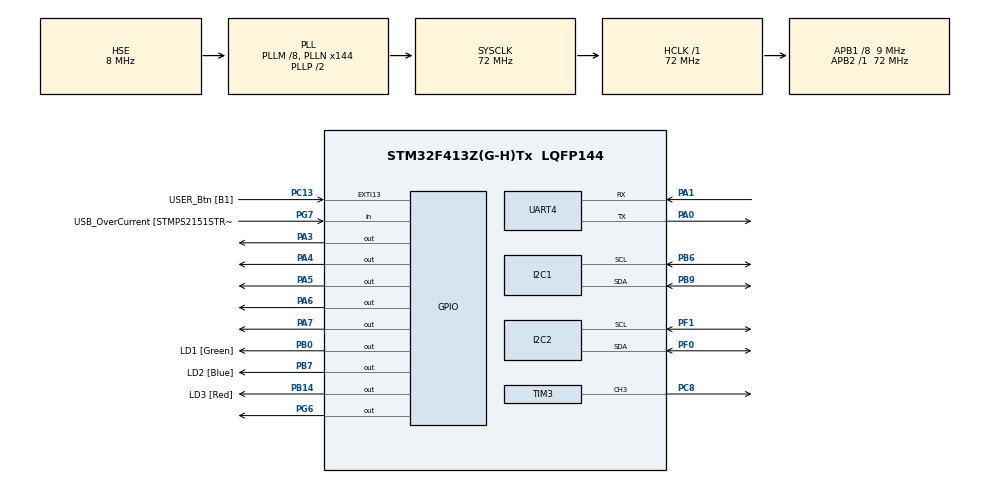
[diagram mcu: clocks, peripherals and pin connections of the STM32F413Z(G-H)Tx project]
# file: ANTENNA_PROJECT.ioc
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Mcu.Family=STM32F4
Mcu.Name=STM32F413Z(G-H)Tx
Mcu.Package=LQFP144
NVIC.PriorityGroup=NVIC_PRIORITYGROUP_4
NVIC.TIM2_IRQn=true\:0\:0\:false\:false\:true\:true\:true
NVIC.TIM3_IRQn=true\:0\:0\:false\:false\:true\:true\:true
NVIC.UART4_IRQn=true\:0\:0\:false\:false\:true\:true\:true
PA0.Mode=Asynchronous
PA0.Signal=UART4_TX
PA1.Mode=Asynchronous
PA1.Signal=UART4_RX
PA10.GPIO_Label=USB_ID
PA10.Signal=USB_OTG_FS_ID
PA11.GPIO_Label=USB_DM
PA11.Signal=USB_OTG_FS_DM
PA12.GPIO_Label=USB_DP
PA12.Signal=USB_OTG_FS_DP
PA13.GPIO_Label=TMS
PA13.Mode=Serial_Wire
PA13.Signal=SYS_JTMS-SWDIO
PA14.GPIO_Label=TCK
PA14.Mode=Serial_Wire
PA14.Signal=SYS_JTCK-SWCLK
PA3.Signal=GPIO_Output
PA4.Signal=GPIO_Output
PA5.Signal=GPIO_Output
PA6.Signal=GPIO_Output
PA7.Signal=GPIO_Output
PA8.GPIO_Label=USB_SOF [TP1]
PA8.Signal=USB_OTG_FS_SOF
PA9.GPIO_Label=USB_VBUS
PA9.Signal=USB_OTG_FS_VBUS
PB0.GPIO_Label=LD1 [Green]
PB0.Signal=GPIO_Output
PB14.GPIO_Label=LD3 [Red]
PB14.Signal=GPIO_Output
PB3.GPIO_Label=SWO
PB3.Signal=SYS_JTDO-SWO
PB6.Mode=I2C
PB6.Signal=I2C1_SCL
PB7.GPIO_Label=LD2 [Blue]
PB7.Signal=GPIO_Output
PB9.Mode=I2C
PB9.Signal=I2C1_SDA
PC13.GPIO_Label=USER_Btn [B1]
PC13.Signal=GPXTI13
PC14-OSC32_IN.Signal=RCC_OSC32_IN
PC15-OSC32_OUT.Signal=RCC_OSC32_OUT
PC8.Signal=S_TIM3_CH3
PD8.GPIO_Label=STLK_RX [STM32F103CBT6_PA3]
PD8.Signal=USART3_TX
PD9.GPIO_Label=STLK_TX [STM32F103CBT6_PA2]
PD9.Signal=USART3_RX
PF0.Mode=I2C
PF0.Signal=I2C2_SDA
PF1.Mode=I2C
PF1.Signal=I2C2_SCL
PG6.Signal=GPIO_Output
PG7.GPIO_Label=USB_OverCurrent [STMPS2151STR_FAULT]
PG7.Signal=GPIO_Input
PH0\ -\ OSC_IN.GPIO_Label=MCO
PH0\ -\ OSC_IN.Mode=HSE-External-Oscillator
PH0\ -\ OSC_IN.Signal=RCC_OSC_IN
PH1\ -\ OSC_OUT.Mode=HSE-External-Oscillator
PH1\ -\ OSC_OUT.Signal=RCC_OSC_OUT
ProjectManager.HeapSize=0x200
ProjectManager.StackSize=0x400
ProjectManager.TargetToolchain=MDK-ARM V5
RCC.48MHZClocksFreq_Value=24000000
RCC.AHBFreq_Value=72000000
RCC.APB1CLKDivider=RCC_HCLK_DIV8
RCC.APB1Freq_Value=9000000
RCC.APB1TimFreq_Value=18000000
RCC.APB2Freq_Value=72000000
RCC.APB2TimFreq_Value=72000000
RCC.CortexFreq_Value=72000000
RCC.HCLKFreq_Value=72000000
RCC.HSE_VALUE=8000000
RCC.HSI_VALUE=16000000
RCC.PLLM=8
RCC.PLLMUL=RCC_PLL_MUL9
RCC.PLLN=144
RCC.PLLSourceVirtual=RCC_PLLSOURCE_HSE
RCC.PRESCALERUSB=RCC_USBCLKSOURCE_PLL_DIV1_5
RCC.SYSCLKFreq_VALUE=72000000
RCC.SYSCLKSource=RCC_SYSCLKSOURCE_PLLCLK
RCC.SYSCLKSourceVirtual=RCC_SYSCLKSOURCE_PLLCLK
RCC.USBFreq_Value=72000000
RCC.VCOOutputFreq_Value=144000000
SH.S_TIM3_CH3.0=TIM3_CH3,PWM Generation3 CH3
TIM2.Period=65535
TIM2.Prescaler=71
TIM3.Channel-PWM\ Generation3\ CH3=TIM_CHANNEL_3
TIM3.Period=2000
TIM3.Prescaler=18
TIM3.Pulse-PWM\ Generation3\ CH3=50
UART4.VirtualMode=Asynchronous
VP_TIM2_VS_ClockSourceINT.Mode=Internal
VP_TIM3_VS_ClockSourceINT.Mode=Internal
board=NUCLEO-F413ZH

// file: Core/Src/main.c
/* USER CODE BEGIN Header */
/**
  ******************************************************************************
  * @file           : main.c
  * @brief          : Main program body
  ******************************************************************************
  * @attention
  *
  * <h2><center>&copy; Copyright (c) 2022 STMicroelectronics.
  * All rights reserved.</center></h2>
  *
  * This software component is licensed by ST under BSD 3-Clause license,
  * the "License"; You may not use this file except in compliance with the
  * License. You may obtain a copy of the License at:
  *                        opensource.org/licenses/BSD-3-Clause
  *
  ******************************************************************************
  */
/* USER CODE END Header */
#include "main.h"

/* USER CODE BEGIN Includes */
#include "step_motor.h"
#include "servo.h"
#include "compass.h"
#include "encoder.h"
/* USER CODE END Includes */

I2C_HandleTypeDef hi2c1;
I2C_HandleTypeDef hi2c2;

TIM_HandleTypeDef htim2;
TIM_HandleTypeDef htim3;

UART_HandleTypeDef huart4;

/* USER CODE BEGIN PV */
uint8_t check_message = 0; // variable to show message from GUI

uint8_t buf[12]; // array for save data from message

uint8_t buf_broken_mes[12]; // array to transmit data if them was broken

_Bool alarm = 0; // variable that show button alarm was pushed

/* USER CODE END PV */

void SystemClock_Config(void);
static void MX_GPIO_Init(void);
static void MX_I2C1_Init(void);
static void MX_TIM3_Init(void);
static void MX_UART4_Init(void);
static void MX_TIM2_Init(void);
static void MX_I2C2_Init(void);

/* USER CODE BEGIN 0 */

// function checks broken message
_Bool check_broken_message(uint8_t* array)
{
	uint16_t first = (array[0] | (array[1]<<8) | (array[2]<<16) | (array[3]<<24));
	uint16_t second = (array[4] | (array[5]<<8) | (array[6]<<16) | (array[7]<<24));
	return ((uint16_t)((first + second)) == (array[8] | (array[9]<<8) | (array[10]<<16) | (array[11]<<24)));
}

// callback function
void HAL_UART_RxCpltCallback(UART_HandleTypeDef *huart)
	{
	if (check_broken_message(buf) && (buf[8] | (buf[9]<<8) | (buf[10]<<16) | (buf[11]<<24)) == 510)
		{
			alarm_button();
		}
	if (check_broken_message(buf) && (buf[8] | (buf[9]<<8) | (buf[10]<<16) | (buf[11]<<24)) == 240 && (buf[4] | (buf[5]<<8) | (buf[6]<<16) | (buf[7]<<24)) == 240)
		{
			continue_working();
		}
	if (!check_broken_message(buf))
	{
		//uint8_t array[1] = {0};
		//HAL_UART_Transmit(&huart4, array, 1, 10);
	}
	if ((buf[8] | (buf[9]<<8) | (buf[10]<<16) | (buf[11]<<24)) == 4000)
	{
		check_message = 2;
	}

	if ((buf[8] | (buf[9]<<8) | (buf[10]<<16) | (buf[11]<<24)) == 3000)
	{
		check_message = 3;
	}
	if ((buf[0] | (buf[1]<<8) | (buf[2]<<16) | (buf[3]<<24)) <= 360 && (buf[4] | (buf[5]<<8) | (buf[6]<<16) | (buf[7]<<24)) <= 90)
	{
		check_message = 1;
	}
	if ((buf[8] | (buf[9]<<8) | (buf[10]<<16) | (buf[11]<<24)) == 255 && (buf[4] | (buf[5]<<8) | (buf[6]<<16) | (buf[7]<<24)) == 255)
	{
		check_message = 4;
	}

  HAL_UART_Receive_IT (&huart4, buf, 12);
	}
/* USER CODE END 0 */

int main(void)
{

  /* MCU Configuration--------------------------------------------------------*/

  /* Reset of all peripherals, Initializes the Flash interface and the Systick. */
  HAL_Init();

  /* Configure the system clock */
  SystemClock_Config();

  /* Initialize all configured peripherals */
  MX_GPIO_Init();
  MX_I2C1_Init();
  MX_TIM3_Init();
  MX_UART4_Init();
  MX_TIM2_Init();
  MX_I2C2_Init();
  /* USER CODE BEGIN 2 */
	HAL_TIM_Base_Start(&htim2);

	HAL_TIM_PWM_Start(&htim3, TIM_CHANNEL_3);

	HAL_UART_Receive_IT (&huart4, (uint8_t *)buf, 12);

	write_compass_settings(0x00, 0x70);//write CRA

	write_compass_settings(0x01, 0xA0);//write CRB

	write_compass_settings(0x02, 0x00);//write MODE

  /* USER CODE END 2 */

  /* Infinite loop */
  /* USER CODE BEGIN WHILE */
  while (1)
  {
		if (check_message == 1)
		{
			uint16_t step_angle = buf[0]|(buf[1]<<8)|(buf[2]<<16)|(buf[3]<<24);
			rotate_step_motor_via_encoder(step_angle);

			uint8_t servo_angle = buf[4]|(buf[5]<<8)|(buf[6]<<16)|(buf[7]<<24);
			servo_rotate(servo_angle);

			check_message = 0;
		}
		if (check_message == 2)
		{
			rotate_motor_by_joustick(buf);
			check_message = 0;
		}
		if (check_message == 3)
		{
			rotate_servo_by_joystick(buf);
			check_message = 0;
		}
		if (check_message == 4)
		{
			set_north();
			check_message = 0;
		}
    /* USER CODE END WHILE */

  }
}

void SystemClock_Config(void)
{
  RCC_OscInitTypeDef RCC_OscInitStruct = {0};
  RCC_ClkInitTypeDef RCC_ClkInitStruct = {0};

  /** Configure the main internal regulator output voltage
  */
  __HAL_RCC_PWR_CLK_ENABLE();
  __HAL_PWR_VOLTAGESCALING_CONFIG(PWR_REGULATOR_VOLTAGE_SCALE1);
  /** Initializes the RCC Oscillators according to the specified parameters
  * in the RCC_OscInitTypeDef structure.
  */
  RCC_OscInitStruct.OscillatorType = RCC_OSCILLATORTYPE_HSE;
  RCC_OscInitStruct.HSEState = RCC_HSE_ON;
  RCC_OscInitStruct.PLL.PLLState = RCC_PLL_ON;
  RCC_OscInitStruct.PLL.PLLSource = RCC_PLLSOURCE_HSE;
  RCC_OscInitStruct.PLL.PLLM = 8;
  RCC_OscInitStruct.PLL.PLLN = 144;
  RCC_OscInitStruct.PLL.PLLP = RCC_PLLP_DIV2;
  RCC_OscInitStruct.PLL.PLLQ = 2;
  RCC_OscInitStruct.PLL.PLLR = 2;
  if (HAL_RCC_OscConfig(&RCC_OscInitStruct) != HAL_OK)
  {
    Error_Handler();
  }
  /** Initializes the CPU, AHB and APB buses clocks
  */
  RCC_ClkInitStruct.ClockType = RCC_CLOCKTYPE_HCLK|RCC_CLOCKTYPE_SYSCLK
                              |RCC_CLOCKTYPE_PCLK1|RCC_CLOCKTYPE_PCLK2;
  RCC_ClkInitStruct.SYSCLKSource = RCC_SYSCLKSOURCE_PLLCLK;
  RCC_ClkInitStruct.AHBCLKDivider = RCC_SYSCLK_DIV1;
  RCC_ClkInitStruct.APB1CLKDivider = RCC_HCLK_DIV8;
  RCC_ClkInitStruct.APB2CLKDivider = RCC_HCLK_DIV1;

  if (HAL_RCC_ClockConfig(&RCC_ClkInitStruct, FLASH_LATENCY_2) != HAL_OK)
  {
    Error_Handler();
  }
}

static void MX_I2C1_Init(void)
{

  hi2c1.Instance = I2C1;
  hi2c1.Init.ClockSpeed = 100000;
  hi2c1.Init.DutyCycle = I2C_DUTYCYCLE_2;
  hi2c1.Init.OwnAddress1 = 0;
  hi2c1.Init.AddressingMode = I2C_ADDRESSINGMODE_7BIT;
  hi2c1.Init.DualAddressMode = I2C_DUALADDRESS_DISABLE;
  hi2c1.Init.OwnAddress2 = 0;
  hi2c1.Init.GeneralCallMode = I2C_GENERALCALL_DISABLE;
  hi2c1.Init.NoStretchMode = I2C_NOSTRETCH_DISABLE;
  if (HAL_I2C_Init(&hi2c1) != HAL_OK)
  {
    Error_Handler();
  }

}

static void MX_I2C2_Init(void)
{

  hi2c2.Instance = I2C2;
  hi2c2.Init.ClockSpeed = 100000;
  hi2c2.Init.DutyCycle = I2C_DUTYCYCLE_2;
  hi2c2.Init.OwnAddress1 = 0;
  hi2c2.Init.AddressingMode = I2C_ADDRESSINGMODE_7BIT;
  hi2c2.Init.DualAddressMode = I2C_DUALADDRESS_DISABLE;
  hi2c2.Init.OwnAddress2 = 0;
  hi2c2.Init.GeneralCallMode = I2C_GENERALCALL_DISABLE;
  hi2c2.Init.NoStretchMode = I2C_NOSTRETCH_DISABLE;
  if (HAL_I2C_Init(&hi2c2) != HAL_OK)
  {
    Error_Handler();
  }

}

static void MX_TIM2_Init(void)
{

  TIM_ClockConfigTypeDef sClockSourceConfig = {0};
  TIM_MasterConfigTypeDef sMasterConfig = {0};

  htim2.Instance = TIM2;
  htim2.Init.Prescaler = 71;
  htim2.Init.CounterMode = TIM_COUNTERMODE_UP;
  htim2.Init.Period = 65535;
  htim2.Init.ClockDivision = TIM_CLOCKDIVISION_DIV1;
  htim2.Init.AutoReloadPreload = TIM_AUTORELOAD_PRELOAD_DISABLE;
  if (HAL_TIM_Base_Init(&htim2) != HAL_OK)
  {
    Error_Handler();
  }
  sClockSourceConfig.ClockSource = TIM_CLOCKSOURCE_INTERNAL;
  if (HAL_TIM_ConfigClockSource(&htim2, &sClockSourceConfig) != HAL_OK)
  {
    Error_Handler();
  }
  sMasterConfig.MasterOutputTrigger = TIM_TRGO_RESET;
  sMasterConfig.MasterSlaveMode = TIM_MASTERSLAVEMODE_DISABLE;
  if (HAL_TIMEx_MasterConfigSynchronization(&htim2, &sMasterConfig) != HAL_OK)
  {
    Error_Handler();
  }

}

static void MX_TIM3_Init(void)
{

  TIM_ClockConfigTypeDef sClockSourceConfig = {0};
  TIM_MasterConfigTypeDef sMasterConfig = {0};
  TIM_OC_InitTypeDef sConfigOC = {0};

  htim3.Instance = TIM3;
  htim3.Init.Prescaler = 18;
  htim3.Init.CounterMode = TIM_COUNTERMODE_UP;
  htim3.Init.Period = 2000;
  htim3.Init.ClockDivision = TIM_CLOCKDIVISION_DIV1;
  htim3.Init.AutoReloadPreload = TIM_AUTORELOAD_PRELOAD_DISABLE;
  if (HAL_TIM_Base_Init(&htim3) != HAL_OK)
  {
    Error_Handler();
  }
  sClockSourceConfig.ClockSource = TIM_CLOCKSOURCE_INTERNAL;
  if (HAL_TIM_ConfigClockSource(&htim3, &sClockSourceConfig) != HAL_OK)
  {
    Error_Handler();
  }
  if (HAL_TIM_PWM_Init(&htim3) != HAL_OK)
  {
    Error_Handler();
  }
  sMasterConfig.MasterOutputTrigger = TIM_TRGO_RESET;
  sMasterConfig.MasterSlaveMode = TIM_MASTERSLAVEMODE_DISABLE;
  if (HAL_TIMEx_MasterConfigSynchronization(&htim3, &sMasterConfig) != HAL_OK)
  {
    Error_Handler();
  }
  sConfigOC.OCMode = TIM_OCMODE_PWM1;
  sConfigOC.Pulse = 50;
  sConfigOC.OCPolarity = TIM_OCPOLARITY_HIGH;
  sConfigOC.OCFastMode = TIM_OCFAST_DISABLE;
  if (HAL_TIM_PWM_ConfigChannel(&htim3, &sConfigOC, TIM_CHANNEL_3) != HAL_OK)
  {
    Error_Handler();
  }
  HAL_TIM_MspPostInit(&htim3);

}

static void MX_UART4_Init(void)
{

  huart4.Instance = UART4;
  huart4.Init.BaudRate = 115200;
  huart4.Init.WordLength = UART_WORDLENGTH_8B;
  huart4.Init.StopBits = UART_STOPBITS_1;
  huart4.Init.Parity = UART_PARITY_NONE;
  huart4.Init.Mode = UART_MODE_TX_RX;
  huart4.Init.HwFlowCtl = UART_HWCONTROL_NONE;
  huart4.Init.OverSampling = UART_OVERSAMPLING_16;
  if (HAL_UART_Init(&huart4) != HAL_OK)
  {
    Error_Handler();
  }

}

static void MX_GPIO_Init(void)
{
  GPIO_InitTypeDef GPIO_InitStruct = {0};

  /* GPIO Ports Clock Enable */
  __HAL_RCC_GPIOC_CLK_ENABLE();
  __HAL_RCC_GPIOF_CLK_ENABLE();
  __HAL_RCC_GPIOH_CLK_ENABLE();
  __HAL_RCC_GPIOA_CLK_ENABLE();
  __HAL_RCC_GPIOB_CLK_ENABLE();
  __HAL_RCC_GPIOD_CLK_ENABLE();
  __HAL_RCC_GPIOG_CLK_ENABLE();

  /*Configure GPIO pin Output Level */
  HAL_GPIO_WritePin(GPIOA, GPIO_PIN_3|GPIO_PIN_4|GPIO_PIN_5|GPIO_PIN_6
                          |GPIO_PIN_7, GPIO_PIN_RESET);

  /*Configure GPIO pin Output Level */
  HAL_GPIO_WritePin(GPIOB, LD1_Pin|LD3_Pin|LD2_Pin, GPIO_PIN_RESET);

  /*Configure GPIO pin Output Level */
  HAL_GPIO_WritePin(GPIOG, GPIO_PIN_6, GPIO_PIN_RESET);

  /*Configure GPIO pin : USER_Btn_Pin */
  GPIO_InitStruct.Pin = USER_Btn_Pin;
  GPIO_InitStruct.Mode = GPIO_MODE_IT_RISING;
  GPIO_InitStruct.Pull = GPIO_NOPULL;
  HAL_GPIO_Init(USER_Btn_GPIO_Port, &GPIO_InitStruct);

  /*Configure GPIO pins : PA3 PA4 PA5 PA6
                           PA7 */
  GPIO_InitStruct.Pin = GPIO_PIN_3|GPIO_PIN_4|GPIO_PIN_5|GPIO_PIN_6
                          |GPIO_PIN_7;
  GPIO_InitStruct.Mode = GPIO_MODE_OUTPUT_PP;
  GPIO_InitStruct.Pull = GPIO_NOPULL;
  GPIO_InitStruct.Speed = GPIO_SPEED_FREQ_LOW;
  HAL_GPIO_Init(GPIOA, &GPIO_InitStruct);

  /*Configure GPIO pins : LD1_Pin LD3_Pin LD2_Pin */
  GPIO_InitStruct.Pin = LD1_Pin|LD3_Pin|LD2_Pin;
  GPIO_InitStruct.Mode = GPIO_MODE_OUTPUT_PP;
  GPIO_InitStruct.Pull = GPIO_NOPULL;
  GPIO_InitStruct.Speed = GPIO_SPEED_FREQ_LOW;
  HAL_GPIO_Init(GPIOB, &GPIO_InitStruct);

  /*Configure GPIO pins : STLK_RX_Pin STLK_TX_Pin */
  GPIO_InitStruct.Pin = STLK_RX_Pin|STLK_TX_Pin;
  GPIO_InitStruct.Mode = GPIO_MODE_AF_PP;
  GPIO_InitStruct.Pull = GPIO_NOPULL;
  GPIO_InitStruct.Speed = GPIO_SPEED_FREQ_VERY_HIGH;
  GPIO_InitStruct.Alternate = GPIO_AF7_USART3;
  HAL_GPIO_Init(GPIOD, &GPIO_InitStruct);

  /*Configure GPIO pin : PG6 */
  GPIO_InitStruct.Pin = GPIO_PIN_6;
  GPIO_InitStruct.Mode = GPIO_MODE_OUTPUT_PP;
  GPIO_InitStruct.Pull = GPIO_NOPULL;
  GPIO_InitStruct.Speed = GPIO_SPEED_FREQ_LOW;
  HAL_GPIO_Init(GPIOG, &GPIO_InitStruct);

  /*Configure GPIO pin : USB_OverCurrent_Pin */
  GPIO_InitStruct.Pin = USB_OverCurrent_Pin;
  GPIO_InitStruct.Mode = GPIO_MODE_INPUT;
  GPIO_InitStruct.Pull = GPIO_NOPULL;
  HAL_GPIO_Init(USB_OverCurrent_GPIO_Port, &GPIO_InitStruct);

  /*Configure GPIO pins : USB_SOF_Pin USB_ID_Pin USB_DM_Pin USB_DP_Pin */
  GPIO_InitStruct.Pin = USB_SOF_Pin|USB_ID_Pin|USB_DM_Pin|USB_DP_Pin;
  GPIO_InitStruct.Mode = GPIO_MODE_AF_PP;
  GPIO_InitStruct.Pull = GPIO_NOPULL;
  GPIO_InitStruct.Speed = GPIO_SPEED_FREQ_VERY_HIGH;
  GPIO_InitStruct.Alternate = GPIO_AF10_OTG_FS;
  HAL_GPIO_Init(GPIOA, &GPIO_InitStruct);

}

void Error_Handler(void)
{
  __disable_irq();
  while (1)
  {
  }
}

/************************ (C) COPYRIGHT STMicroelectronics *****END OF FILE****/
